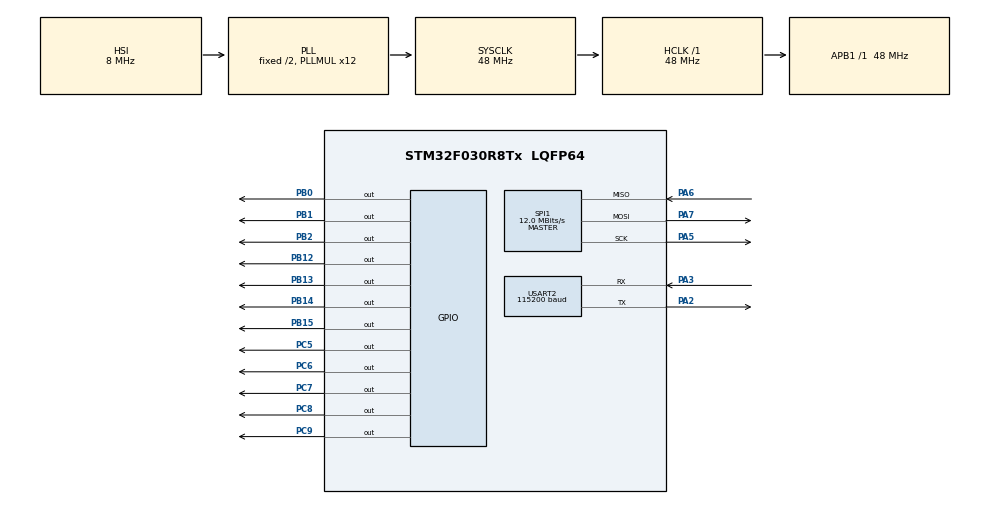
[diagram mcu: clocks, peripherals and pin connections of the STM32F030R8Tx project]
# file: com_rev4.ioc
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Dma.Request0=USART2_RX
Dma.Request1=USART2_TX
Dma.Request2=SPI1_RX
Dma.Request3=SPI1_TX
Dma.SPI1_RX.2.Direction=DMA_PERIPH_TO_MEMORY
Dma.SPI1_RX.2.Instance=DMA1_Channel2
Dma.SPI1_RX.2.MemDataAlignment=DMA_MDATAALIGN_BYTE
Dma.SPI1_RX.2.MemInc=DMA_MINC_ENABLE
Dma.SPI1_RX.2.Mode=DMA_NORMAL
Dma.SPI1_RX.2.PeriphDataAlignment=DMA_PDATAALIGN_BYTE
Dma.SPI1_RX.2.PeriphInc=DMA_PINC_DISABLE
Dma.SPI1_RX.2.Priority=DMA_PRIORITY_LOW
Dma.SPI1_TX.3.Direction=DMA_MEMORY_TO_PERIPH
Dma.SPI1_TX.3.Instance=DMA1_Channel3
Dma.SPI1_TX.3.MemDataAlignment=DMA_MDATAALIGN_BYTE
Dma.SPI1_TX.3.MemInc=DMA_MINC_ENABLE
Dma.SPI1_TX.3.Mode=DMA_NORMAL
Dma.SPI1_TX.3.PeriphDataAlignment=DMA_PDATAALIGN_BYTE
Dma.SPI1_TX.3.PeriphInc=DMA_PINC_DISABLE
Dma.SPI1_TX.3.Priority=DMA_PRIORITY_LOW
Dma.USART2_RX.0.Direction=DMA_PERIPH_TO_MEMORY
Dma.USART2_RX.0.Instance=DMA1_Channel5
Dma.USART2_RX.0.MemDataAlignment=DMA_MDATAALIGN_BYTE
Dma.USART2_RX.0.MemInc=DMA_MINC_ENABLE
Dma.USART2_RX.0.Mode=DMA_NORMAL
Dma.USART2_RX.0.PeriphDataAlignment=DMA_PDATAALIGN_BYTE
Dma.USART2_RX.0.PeriphInc=DMA_PINC_DISABLE
Dma.USART2_RX.0.Priority=DMA_PRIORITY_LOW
Dma.USART2_TX.1.Direction=DMA_MEMORY_TO_PERIPH
Dma.USART2_TX.1.Instance=DMA1_Channel4
Dma.USART2_TX.1.MemDataAlignment=DMA_MDATAALIGN_BYTE
Dma.USART2_TX.1.MemInc=DMA_MINC_ENABLE
Dma.USART2_TX.1.Mode=DMA_NORMAL
Dma.USART2_TX.1.PeriphDataAlignment=DMA_PDATAALIGN_BYTE
Dma.USART2_TX.1.PeriphInc=DMA_PINC_DISABLE
Dma.USART2_TX.1.Priority=DMA_PRIORITY_LOW
Mcu.Family=STM32F0
Mcu.Name=STM32F030R8Tx
Mcu.Package=LQFP64
NVIC.DMA1_Channel2_3_IRQn=true\:0\:0\:false\:false\:true\:false\:true\:true
NVIC.DMA1_Channel4_5_IRQn=true\:0\:0\:false\:false\:true\:false\:true\:true
NVIC.SPI1_IRQn=true\:0\:0\:false\:false\:true\:true\:true\:true
NVIC.TIM6_IRQn=true\:0\:0\:false\:false\:true\:true\:true\:true
NVIC.USART2_IRQn=true\:0\:0\:false\:false\:true\:true\:true\:true
PA13.Mode=Serial_Wire
PA13.Signal=SYS_SWDIO
PA14.Mode=Serial_Wire
PA14.Signal=SYS_SWCLK
PA2.GPIO_PuPd=GPIO_PULLUP
PA2.Mode=Asynchronous
PA2.Signal=USART2_TX
PA3.GPIO_PuPd=GPIO_PULLUP
PA3.Mode=Asynchronous
PA3.Signal=USART2_RX
PA5.GPIO_PuPd=GPIO_PULLUP
PA5.Mode=Full_Duplex_Master
PA5.Signal=SPI1_SCK
PA6.GPIO_PuPd=GPIO_PULLUP
PA6.Mode=Full_Duplex_Master
PA6.Signal=SPI1_MISO
PA7.GPIO_PuPd=GPIO_PULLUP
PA7.Mode=Full_Duplex_Master
PA7.Signal=SPI1_MOSI
PB0.GPIO_PuPd=GPIO_PULLUP
PB0.GPIO_Speed=GPIO_SPEED_FREQ_HIGH
PB0.PinState=GPIO_PIN_SET
PB0.Signal=GPIO_Output
PB1.GPIO_PuPd=GPIO_PULLUP
PB1.GPIO_Speed=GPIO_SPEED_FREQ_HIGH
PB1.PinState=GPIO_PIN_SET
PB1.Signal=GPIO_Output
PB12.GPIO_PuPd=GPIO_PULLUP
PB12.GPIO_Speed=GPIO_SPEED_FREQ_HIGH
PB12.PinState=GPIO_PIN_SET
PB12.Signal=GPIO_Output
PB13.GPIO_PuPd=GPIO_PULLUP
PB13.GPIO_Speed=GPIO_SPEED_FREQ_HIGH
PB13.PinState=GPIO_PIN_SET
PB13.Signal=GPIO_Output
PB14.GPIO_PuPd=GPIO_PULLUP
PB14.GPIO_Speed=GPIO_SPEED_FREQ_HIGH
PB14.PinState=GPIO_PIN_SET
PB14.Signal=GPIO_Output
PB15.GPIO_PuPd=GPIO_PULLUP
PB15.GPIO_Speed=GPIO_SPEED_FREQ_HIGH
PB15.PinState=GPIO_PIN_SET
PB15.Signal=GPIO_Output
PB2.GPIO_PuPd=GPIO_PULLUP
PB2.GPIO_Speed=GPIO_SPEED_FREQ_HIGH
PB2.PinState=GPIO_PIN_SET
PB2.Signal=GPIO_Output
PC5.GPIO_PuPd=GPIO_PULLUP
PC5.GPIO_Speed=GPIO_SPEED_FREQ_HIGH
PC5.PinState=GPIO_PIN_SET
PC5.Signal=GPIO_Output
PC6.GPIO_PuPd=GPIO_PULLUP
PC6.GPIO_Speed=GPIO_SPEED_FREQ_HIGH
PC6.PinState=GPIO_PIN_SET
PC6.Signal=GPIO_Output
PC7.GPIO_PuPd=GPIO_PULLUP
PC7.GPIO_Speed=GPIO_SPEED_FREQ_HIGH
PC7.PinState=GPIO_PIN_SET
PC7.Signal=GPIO_Output
PC8.GPIO_PuPd=GPIO_PULLUP
PC8.GPIO_Speed=GPIO_SPEED_FREQ_HIGH
PC8.PinState=GPIO_PIN_SET
PC8.Signal=GPIO_Output
PC9.GPIO_PuPd=GPIO_PULLUP
PC9.GPIO_Speed=GPIO_SPEED_FREQ_HIGH
PC9.PinState=GPIO_PIN_SET
PC9.Signal=GPIO_Output
ProjectManager.HeapSize=0x200
ProjectManager.StackSize=0x400
ProjectManager.TargetToolchain=STM32CubeIDE
RCC.AHBFreq_Value=48000000
RCC.APB1Freq_Value=48000000
RCC.APB1TimFreq_Value=48000000
RCC.HCLKFreq_Value=48000000
RCC.PLLMUL=RCC_PLL_MUL12
RCC.SYSCLKFreq_VALUE=48000000
RCC.SYSCLKSource=RCC_SYSCLKSOURCE_PLLCLK
SPI1.BaudRatePrescaler=SPI_BAUDRATEPRESCALER_4
SPI1.CalculateBaudRate=12.0 MBits/s
SPI1.DataSize=SPI_DATASIZE_8BIT
SPI1.Direction=SPI_DIRECTION_2LINES
SPI1.Mode=SPI_MODE_MASTER
SPI1.VirtualType=VM_MASTER
TIM6.Period=9
TIM6.Prescaler=23999
USART2.BaudRate=115200
USART2.VirtualMode-Asynchronous=VM_ASYNC
VP_TIM6_VS_ClockSourceINT.Mode=Enable_Timer
board=custom

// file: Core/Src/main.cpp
/* USER CODE BEGIN Header */
/**
  ******************************************************************************
  * @file           : main.c
  * @brief          : Main program body
  ******************************************************************************
  * @attention
  *
  * Copyright (c) 2023 STMicroelectronics.
  * All rights reserved.
  *
  * This software is licensed under terms that can be found in the LICENSE file
  * in the root directory of this software component.
  * If no LICENSE file comes with this software, it is provided AS-IS.
  *
  ******************************************************************************
  */
/* USER CODE END Header */
#include "main.h"
/* USER CODE BEGIN Includes */
#include "SpiPort.h"
/* USER CODE END Includes */

SPI_HandleTypeDef hspi1;
DMA_HandleTypeDef hdma_spi1_rx;
DMA_HandleTypeDef hdma_spi1_tx;

TIM_HandleTypeDef htim6;

UART_HandleTypeDef huart2;
DMA_HandleTypeDef hdma_usart2_rx;
DMA_HandleTypeDef hdma_usart2_tx;

/* USER CODE BEGIN PV */
#define TIM_PERIOD_MS 5
#define UART_RX_PERIOD_MS 10

uint8_t uartRx0[53] { 0 };
uint8_t uartRx1[53] { 0 };
uint8_t *uartRx[2] { uartRx0, uartRx1 };

uint8_t uartRxSaved[53] { 0 };
uint8_t rxArrNum { 0 };
uint8_t rxStarted { 0 };
uint8_t uartRxState[2] { 0 };

uint8_t RxMs { 0 };
uint16_t TxMs { 0 };

uint8_t uartTx[55] = {0x55,0xAA,  // Контрольные байты (0x55,0xAA)
					  50,         // Размер массива
					  0xFF,0xFF,  // Тех. состояние(0-есть плата, 1-нет платы)
					  0,0,  // Порт 1
					  0,0,
					  0,0,  // Порт 2
					  0,0,
					  0,0,  // Порт 3
					  0,0,
					  0,0,  // Порт 4
					  0,0,
					  0,0,  // Порт 5
					  0,0,
					  0,0,  // Порт 6
					  0,0,
					  0,0,  // Порт 7
					  0,0,
					  0,0,  // Порт 8
					  0,0,
					  0,0,  // Порт 9
					  0,0,
					  0,0,  // Порт 10
					  0,0,
					  0,0,  // Порт 11
					  0,0,
					  0,0,  // Порт 12
					  0,0,
					  0,0}; // Контрольная сумма
uint8_t uartTxSaved[55] { 0 };

uint8_t uartTxState { 0 };

uint8_t uartRxFlag { 0 };
uint8_t uartTxFlag { 0 };

uint16_t uartTxSumm { 0 };

SpiPort spiPort[12];
uint8_t spiState { 0 };
uint8_t port { 0 };

uint8_t timFlag { 0 };

/* USER CODE END PV */

void SystemClock_Config(void);
static void MX_GPIO_Init(void);
static void MX_DMA_Init(void);
static void MX_USART2_UART_Init(void);
static void MX_SPI1_Init(void);
static void MX_TIM6_Init(void);

/* USER CODE BEGIN 0 */
void HAL_UART_RxCpltCallback (UART_HandleTypeDef *huart)
{
	uartInterrupt(rxArrNum);
}

void HAL_UART_ErrorCallback(UART_HandleTypeDef *huart) {
	HAL_UART_AbortReceive_IT(huart);
	uint32_t dr = USART2->RDR;
	uint32_t er = HAL_UART_GetError(huart);
	if (er & HAL_UART_ERROR_PE) {
		__HAL_UART_CLEAR_PEFLAG(huart);
	}
	if (er & HAL_UART_ERROR_NE) {
		__HAL_UART_CLEAR_NEFLAG(huart);
	}
	if (er & HAL_UART_ERROR_FE) {
		__HAL_UART_CLEAR_FEFLAG(huart);
	}
	if (er & HAL_UART_ERROR_ORE) {
		__HAL_UART_CLEAR_OREFLAG(huart);
	}
	if (er & HAL_UART_ERROR_DMA) {
		__HAL_UART_CLEAR_NEFLAG(huart);
	}
	//huart->ErrorCode = HAL_UART_ERROR_NONE;
}

void HAL_UART_TxCpltCallback (UART_HandleTypeDef *huart)
{
	uartTxState = 0;
}

void HAL_SPI_TxRxCpltCallback(SPI_HandleTypeDef *hspi) {
	spiState = 2;
}

void HAL_TIM_PeriodElapsedCallback(TIM_HandleTypeDef *htim) {
	++RxMs;
	++TxMs;
}

void uartInterrupt(uint8_t num) {
		uartRxState[num] = 2;
		if (num) {
			uartRxState[0] = 1;
			HAL_UART_Receive_IT(&huart2, uartRx[0], 53);
		} else {
			uartRxState[1] = 1;
			HAL_UART_Receive_IT(&huart2, uartRx[1], 53);
		}
}

void uartProcessing(uint8_t num) {
	switch (uartRxState[num]) {
	case 1:
		if (huart2.RxXferCount < 0x0035 && huart2.RxXferCount > 0) {
			switch (rxStarted) {
			case 0:
				rxStarted = 1;
				RxMs = 0;
				break;
			case 1:
				if (RxMs > UART_RX_PERIOD_MS / 5) {
					rxStarted = 0;
					HAL_UART_AbortReceive_IT(&huart2);
					uartRxState[num] = 1;
					HAL_UART_Receive_IT(&huart2, uartRx[num], 53);
				}
				break;
			}
		}
		break;
	case 2:
		uartRxState[num] = 0;
		rxStarted = 0;
		if (uartRx[num][0] == 0x55 && uartRx[num][1] == 0xAA && uartRx[num][2] == 0x30) {
			uint16_t uartRxSumm = 0;
			for (uint8_t i = 0; i <= 50; i++) {
				uartRxSumm += uartRx[num][i];
			}
			if ((uint8_t) uartRxSumm == uartRx[num][51] && (uint8_t) (uartRxSumm >> 8) == uartRx[num][52] && spiState != 1) {
				for (uint8_t i = 0; i <= 52; i++) {
					uartRxSaved[i] = uartRx[num][i];
				}
			}
		}
		rxArrNum ? rxArrNum = 0 : rxArrNum = 1;
		break;
	}
}
/* USER CODE END 0 */

int main(void)
{
  /* USER CODE BEGIN 1 */
	spiPort[0].setCS(GPIOC, 9);
	spiPort[1].setCS(GPIOC, 8);
	spiPort[2].setCS(GPIOC, 7);
	spiPort[3].setCS(GPIOC, 6);
	spiPort[4].setCS(GPIOB, 15);
	spiPort[5].setCS(GPIOB, 14);
	spiPort[6].setCS(GPIOB, 13);
	spiPort[7].setCS(GPIOB, 12);
	spiPort[8].setCS(GPIOB, 2);
	spiPort[9].setCS(GPIOB, 1);
	spiPort[10].setCS(GPIOB, 0);
	spiPort[11].setCS(GPIOC, 5);
  /* USER CODE END 1 */

  /* MCU Configuration--------------------------------------------------------*/

  /* Reset of all peripherals, Initializes the Flash interface and the Systick. */
  HAL_Init();

  /* Configure the system clock */
  SystemClock_Config();

  /* Initialize all configured peripherals */
  MX_GPIO_Init();
  MX_DMA_Init();
  MX_USART2_UART_Init();
  MX_SPI1_Init();
  MX_TIM6_Init();
  /* USER CODE BEGIN 2 */
  HAL_TIM_Base_Start_IT(&htim6); //Vklychenie taimera 6
  uartRxState[0] = 1;
  HAL_UART_Receive_IT(&huart2, uartRx[0], 53); // Priem po UART
  /* USER CODE END 2 */

  /* Infinite loop */
  /* USER CODE BEGIN WHILE */
  while (1)
  {
	  /* Обработка приема по UART */
	  uartProcessing(0);
	  uartProcessing(1);

	  /* Обработка приемо-передачи по SPI */
	  switch (spiState) {
		case 0:
			spiState = 1;
			port == 0 ? spiPort[11].unSelect() : spiPort[port - 1].unSelect();
			spiPort[port].setTx(&uartRxSaved[4 * port + 3], &uartRxSaved[4 * port + 4], &uartRxSaved[4 * port + 5], &uartRxSaved[4 * port + 6]);
			spiPort[port].select();
			HAL_SPI_TransmitReceive_IT(&hspi1, spiPort[port].getTx(), spiPort[port].getRx(), 6);
			break;
		case 2:
			spiState = 0;
			if (spiPort[port].rxSummCheck()) {
				uartTx[4 * port + 5] = *(spiPort[port].getRx());
				uartTx[4 * port + 6] = *(spiPort[port].getRx() + 1);
				uartTx[4 * port + 7] = *(spiPort[port].getRx() + 2);
				uartTx[4 * port + 8] = *(spiPort[port].getRx() + 3);
				if (port <= 7) {
					*(spiPort[port].getRx() + 4) ? uartTx[3] &= ~(1 << port) : uartTx[3] |= (1 << port);
				} else {
					*(spiPort[port].getRx() + 4) ? uartTx[4] &= ~(1 << (port - 8)) : uartTx[4] |= (1 << (port - 8));
				}
				port == 11 ? port = 0 : ++port;
				spiPort[port].changes() ? uartTxFlag = 3 : 0;
			}
			break;
		}

	  	/* Обработка передачи по UART */
		if (TxMs > 300) {
			uartTxFlag = 1;
		}

		if (uartTxFlag != 0 && uartTxState == 0) {
			uartTxState = 1;
			--uartTxFlag;

			for (int i = 0; i < 55; i++) {
				uartTxSaved[i] = uartTx[i];
			}

			uartTxSumm = 0;
			for (uint8_t i = 0; i < 53; i++) {
				uartTxSumm += uartTxSaved[i];
			}
			uartTxSaved[53] = (uint8_t) uartTxSumm;
			uartTxSaved[54] = (uint8_t) (uartTxSumm >> 8);

			TxMs = 0;
			HAL_UART_Transmit_IT(&huart2, (uint8_t*) uartTxSaved, 55);
		}
    /* USER CODE END WHILE */

  }
}

void SystemClock_Config(void)
{
  RCC_OscInitTypeDef RCC_OscInitStruct = {0};
  RCC_ClkInitTypeDef RCC_ClkInitStruct = {0};

  /** Initializes the RCC Oscillators according to the specified parameters
  * in the RCC_OscInitTypeDef structure.
  */
  RCC_OscInitStruct.OscillatorType = RCC_OSCILLATORTYPE_HSI;
  RCC_OscInitStruct.HSIState = RCC_HSI_ON;
  RCC_OscInitStruct.HSICalibrationValue = RCC_HSICALIBRATION_DEFAULT;
  RCC_OscInitStruct.PLL.PLLState = RCC_PLL_ON;
  RCC_OscInitStruct.PLL.PLLSource = RCC_PLLSOURCE_HSI;
  RCC_OscInitStruct.PLL.PLLMUL = RCC_PLL_MUL12;
  RCC_OscInitStruct.PLL.PREDIV = RCC_PREDIV_DIV1;
  if (HAL_RCC_OscConfig(&RCC_OscInitStruct) != HAL_OK)
  {
    Error_Handler();
  }

  /** Initializes the CPU, AHB and APB buses clocks
  */
  RCC_ClkInitStruct.ClockType = RCC_CLOCKTYPE_HCLK|RCC_CLOCKTYPE_SYSCLK
                              |RCC_CLOCKTYPE_PCLK1;
  RCC_ClkInitStruct.SYSCLKSource = RCC_SYSCLKSOURCE_PLLCLK;
  RCC_ClkInitStruct.AHBCLKDivider = RCC_SYSCLK_DIV1;
  RCC_ClkInitStruct.APB1CLKDivider = RCC_HCLK_DIV1;

  if (HAL_RCC_ClockConfig(&RCC_ClkInitStruct, FLASH_LATENCY_1) != HAL_OK)
  {
    Error_Handler();
  }
}

static void MX_SPI1_Init(void)
{

  /* SPI1 parameter configuration*/
  hspi1.Instance = SPI1;
  hspi1.Init.Mode = SPI_MODE_MASTER;
  hspi1.Init.Direction = SPI_DIRECTION_2LINES;
  hspi1.Init.DataSize = SPI_DATASIZE_8BIT;
  hspi1.Init.CLKPolarity = SPI_POLARITY_LOW;
  hspi1.Init.CLKPhase = SPI_PHASE_1EDGE;
  hspi1.Init.NSS = SPI_NSS_SOFT;
  hspi1.Init.BaudRatePrescaler = SPI_BAUDRATEPRESCALER_4;
  hspi1.Init.FirstBit = SPI_FIRSTBIT_MSB;
  hspi1.Init.TIMode = SPI_TIMODE_DISABLE;
  hspi1.Init.CRCCalculation = SPI_CRCCALCULATION_DISABLE;
  hspi1.Init.CRCPolynomial = 7;
  hspi1.Init.CRCLength = SPI_CRC_LENGTH_DATASIZE;
  hspi1.Init.NSSPMode = SPI_NSS_PULSE_ENABLE;
  if (HAL_SPI_Init(&hspi1) != HAL_OK)
  {
    Error_Handler();
  }

}

static void MX_TIM6_Init(void)
{

  htim6.Instance = TIM6;
  htim6.Init.Prescaler = 23999;
  htim6.Init.CounterMode = TIM_COUNTERMODE_UP;
  htim6.Init.Period = 9;
  htim6.Init.AutoReloadPreload = TIM_AUTORELOAD_PRELOAD_DISABLE;
  if (HAL_TIM_Base_Init(&htim6) != HAL_OK)
  {
    Error_Handler();
  }

}

static void MX_USART2_UART_Init(void)
{

  huart2.Instance = USART2;
  huart2.Init.BaudRate = 115200;
  huart2.Init.WordLength = UART_WORDLENGTH_8B;
  huart2.Init.StopBits = UART_STOPBITS_1;
  huart2.Init.Parity = UART_PARITY_NONE;
  huart2.Init.Mode = UART_MODE_TX_RX;
  huart2.Init.HwFlowCtl = UART_HWCONTROL_NONE;
  huart2.Init.OverSampling = UART_OVERSAMPLING_16;
  huart2.Init.OneBitSampling = UART_ONE_BIT_SAMPLE_DISABLE;
  huart2.AdvancedInit.AdvFeatureInit = UART_ADVFEATURE_NO_INIT;
  if (HAL_UART_Init(&huart2) != HAL_OK)
  {
    Error_Handler();
  }

}

static void MX_DMA_Init(void)
{

  /* DMA controller clock enable */
  __HAL_RCC_DMA1_CLK_ENABLE();

  /* DMA interrupt init */
  /* DMA1_Channel2_3_IRQn interrupt configuration */
  HAL_NVIC_SetPriority(DMA1_Channel2_3_IRQn, 0, 0);
  HAL_NVIC_EnableIRQ(DMA1_Channel2_3_IRQn);
  /* DMA1_Channel4_5_IRQn interrupt configuration */
  HAL_NVIC_SetPriority(DMA1_Channel4_5_IRQn, 0, 0);
  HAL_NVIC_EnableIRQ(DMA1_Channel4_5_IRQn);

}

static void MX_GPIO_Init(void)
{
  GPIO_InitTypeDef GPIO_InitStruct = {0};

  /* GPIO Ports Clock Enable */
  __HAL_RCC_GPIOA_CLK_ENABLE();
  __HAL_RCC_GPIOC_CLK_ENABLE();
  __HAL_RCC_GPIOB_CLK_ENABLE();

  /*Configure GPIO pin Output Level */
  HAL_GPIO_WritePin(GPIOC, GPIO_PIN_5|GPIO_PIN_6|GPIO_PIN_7|GPIO_PIN_8
                          |GPIO_PIN_9, GPIO_PIN_SET);

  /*Configure GPIO pin Output Level */
  HAL_GPIO_WritePin(GPIOB, GPIO_PIN_0|GPIO_PIN_1|GPIO_PIN_2|GPIO_PIN_12
                          |GPIO_PIN_13|GPIO_PIN_14|GPIO_PIN_15, GPIO_PIN_SET);

  /*Configure GPIO pins : PC5 PC6 PC7 PC8
                           PC9 */
  GPIO_InitStruct.Pin = GPIO_PIN_5|GPIO_PIN_6|GPIO_PIN_7|GPIO_PIN_8
                          |GPIO_PIN_9;
  GPIO_InitStruct.Mode = GPIO_MODE_OUTPUT_PP;
  GPIO_InitStruct.Pull = GPIO_PULLUP;
  GPIO_InitStruct.Speed = GPIO_SPEED_FREQ_HIGH;
  HAL_GPIO_Init(GPIOC, &GPIO_InitStruct);

  /*Configure GPIO pins : PB0 PB1 PB2 PB12
                           PB13 PB14 PB15 */
  GPIO_InitStruct.Pin = GPIO_PIN_0|GPIO_PIN_1|GPIO_PIN_2|GPIO_PIN_12
                          |GPIO_PIN_13|GPIO_PIN_14|GPIO_PIN_15;
  GPIO_InitStruct.Mode = GPIO_MODE_OUTPUT_PP;
  GPIO_InitStruct.Pull = GPIO_PULLUP;
  GPIO_InitStruct.Speed = GPIO_SPEED_FREQ_HIGH;
  HAL_GPIO_Init(GPIOB, &GPIO_InitStruct);

}

void Error_Handler(void)
{
  __disable_irq();
  while (1)
  {
  }
}
